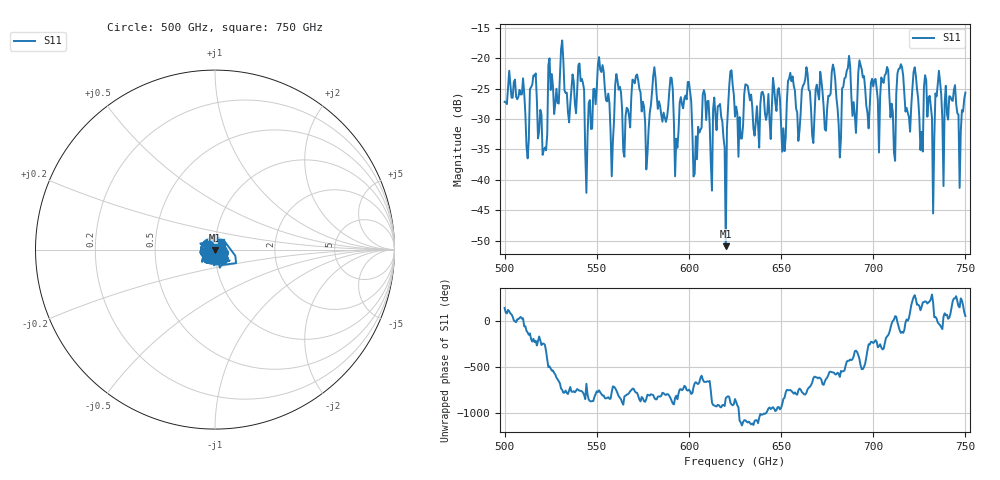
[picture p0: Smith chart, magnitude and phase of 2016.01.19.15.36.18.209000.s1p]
!Created with skrf (http://scikit-rf.org).
# GHz S RI R 50.0
!freq ReS11 ImS11
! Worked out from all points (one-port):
!   401 points, 500 GHz to 750 GHz, reference 50 ohm
!   lowest |S11| = -50.9 dB at 620 GHz (marker M1), VSWR 1.01, Z = 49.8 - j0.242 ohm
!   |S11| at or under -10 dB: start of sweep to end of sweep
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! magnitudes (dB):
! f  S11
! 500 GHz  -27.2
! 512.5 GHz  -36.5
! 515.6 GHz  -22.8
! 521.9 GHz  -34.7
! 525 GHz  -25.2
! 531.2 GHz  -17.1
! 545 GHz  -32.8
! 551.9 GHz  -21.9
! 558.1 GHz  -39.4
! 562.5 GHz  -24.7
! 577.5 GHz  -35.8
! 590 GHz  -23.2
! 593.8 GHz  -34.7
! 599.4 GHz  -23.9
! 603.1 GHz  -39.0
! 608.8 GHz  -26.1
! 620 GHz  -50.9
! 622.5 GHz  -22.2
! 625 GHz  -29.6
! 651.2 GHz  -31.5
! 656.2 GHz  -23.0
! 678.8 GHz  -21.8
! 681.2 GHz  -30.9
! 687.5 GHz  -21.4
! 710.6 GHz  -28.9
! 715 GHz  -21.0
! 718.8 GHz  -29.0
! 750 GHz  -25.7
